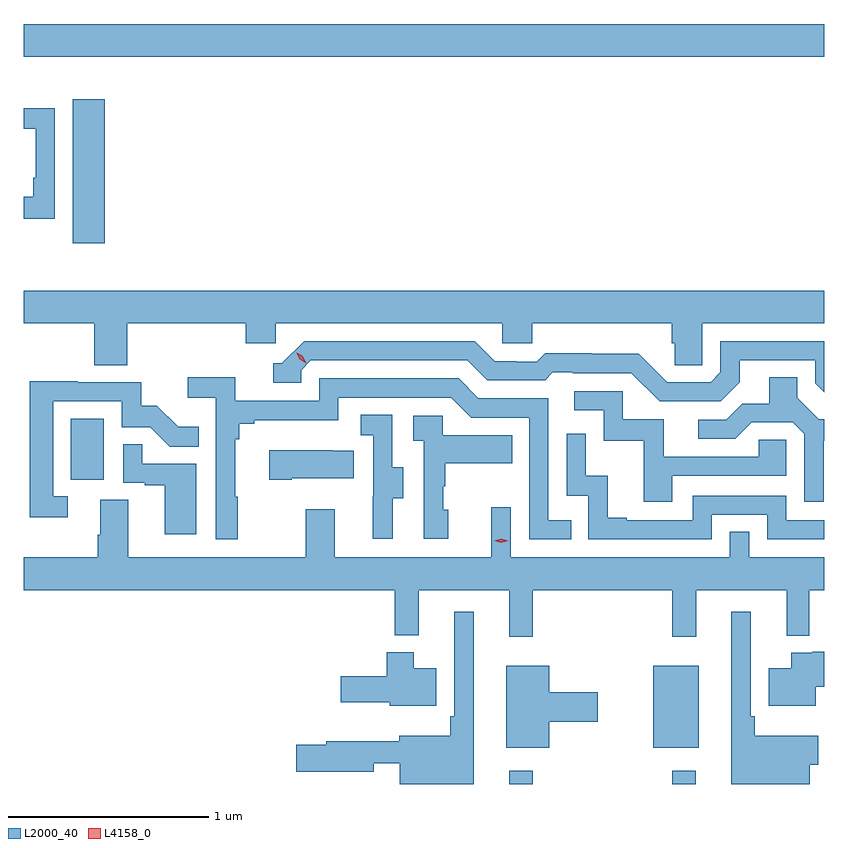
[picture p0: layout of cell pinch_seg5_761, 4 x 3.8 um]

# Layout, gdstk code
import gdstk
lib = gdstk.Library(unit=1e-6, precision=1e-09)
def R(c, l, rs):  # rectangles x0, y0, x1, y1
    for r in rs: c.add(gdstk.rectangle(r[:2], r[2:], *l))
def P(c, l, *ps):  # polygons
    for p in ps: c.add(gdstk.Polygon(p, *l))
L2000_40 = (2000, 40)
L4158_0 = (4158, 0)

pinch_seg5_761 = lib.new_cell('pinch_seg5_761')
R(pinch_seg5_761, L2000_40, [(844.61,901.079,844.727,901.144), (845.425,901.079,845.542,901.144), (845.33,901.259,845.557,901.669), (842.42,902.598,842.584,902.905), (842.429,903.78,842.59,904.501), (842.184,904.712,846.184,904.876)])
P(pinch_seg5_761, L2000_40, [(842.34,904.454),(842.184,904.454),(842.184,904.353),(842.244,904.353),(842.244,904.108),(842.231,904.108),(842.231,904.012),(842.184,904.012),(842.184,903.903),(842.34,903.903)],
  [(842.184,903.38),(842.537,903.38),(842.537,903.172),(842.702,903.172),(842.702,903.38),(843.293,903.38),(843.293,903.282),(843.444,903.282),(843.444,903.38),(844.575,903.38),(844.575,903.282),(844.725,903.282),(844.725,903.38),(845.423,903.38),(845.423,903.282),(845.437,903.282),(845.437,903.172),(845.574,903.172),(845.574,903.38),(846.184,903.38),(846.184,903.544),(842.184,903.544)],
  [(845.761,903.085),(845.761,903.195),(846.138,903.195),(846.138,903.081),(846.184,903.035),(846.184,903.291),(845.664,903.291),(845.664,903.135),(845.616,903.087),(845.4,903.087),(845.258,903.229),(845.022,903.229),(845.022,903.232),(844.789,903.232),(844.747,903.189),(844.644,903.189),(844.644,903.192),(844.537,903.192),(844.438,903.291),(843.585,903.291),(843.474,903.18),(843.431,903.18),(843.431,903.084),(843.57,903.084),(843.57,903.147),(843.618,903.195),(844.401,903.195),(844.5,903.096),(844.789,903.096),(844.828,903.135),(844.927,903.135),(844.927,903.132),(845.22,903.132),(845.361,902.991),(845.667,902.991)],
  [(843.253,902.513),(843.241,902.513),(843.241,902.801),(843.26,902.801),(843.26,902.878),(843.337,902.878),(843.337,902.897),(843.756,902.897),(843.756,903.009),(844.32,903.009),(844.419,902.91),(844.71,902.91),(844.71,902.301),(844.919,902.301),(844.919,902.397),(844.806,902.397),(844.806,903.006),(844.456,903.006),(844.357,903.105),(843.66,903.105),(843.66,902.994),(843.242,902.994),(843.242,903.11),(843.003,903.11),(843.003,903.008),(843.144,903.008),(843.144,902.301),(843.253,902.301)],
  [(846.181,902.793),(846.184,902.793),(846.184,902.901),(846.156,902.901),(846.049,903.008),(846.049,903.11),(845.909,903.11),(845.909,902.978),(845.774,902.978),(845.694,902.898),(845.553,902.898),(845.553,902.805),(845.74,902.805),(845.821,902.886),(846.027,902.886),(846.084,902.829),(846.084,902.49),(846.181,902.49)],
  [(842.404,902.517),(842.331,902.517),(842.331,902.991),(842.673,902.991),(842.673,902.862),(842.817,902.862),(842.915,902.764),(843.059,902.764),(843.059,902.863),(842.955,902.863),(842.848,902.97),(842.772,902.97),(842.772,903.087),(842.453,903.087),(842.453,903.092),(842.215,903.092),(842.215,902.412),(842.404,902.412)],
  [(845.425,902.619),(845.994,902.619),(845.994,902.799),(845.857,902.799),(845.857,902.715),(845.383,902.715),(845.383,902.901),(845.178,902.901),(845.178,903.042),(844.935,903.042),(844.935,902.946),(845.082,902.946),(845.082,902.793),(845.281,902.793),(845.281,902.49),(845.425,902.49)],
  [(844.027,902.506),(844.081,902.506),(844.081,902.661),(844.026,902.661),(844.026,902.924),(843.867,902.924),(843.867,902.821),(843.93,902.821),(843.93,902.517),(843.929,902.517),(843.929,902.304),(844.027,902.304)],
  [(844.306,902.448),(844.281,902.448),(844.281,902.567),(844.291,902.567),(844.291,902.681),(844.625,902.681),(844.625,902.821),(844.278,902.821),(844.278,902.919),(844.131,902.919),(844.131,902.795),(844.182,902.795),(844.182,902.304),(844.306,902.304)],
  [(845.622,902.424),(845.898,902.424),(845.898,902.301),(846.184,902.301),(846.184,902.397),(845.994,902.397),(845.994,902.52),(845.526,902.52),(845.526,902.397),(845.197,902.397),(845.197,902.41),(845.102,902.41),(845.102,902.618),(844.992,902.618),(844.992,902.83),(844.896,902.83),(844.896,902.52),(845.004,902.52),(845.004,902.301),(845.622,902.301)],
  [(843.046,902.679),(842.777,902.679),(842.777,902.777),(842.682,902.777),(842.682,902.583),(842.789,902.583),(842.789,902.571),(842.888,902.571),(842.888,902.328),(843.046,902.328)],
  [(843.523,902.606),(843.833,902.606),(843.833,902.743),(843.725,902.743),(843.725,902.746),(843.411,902.746),(843.411,902.599),(843.523,902.599)],
  [(844.727,902.048),(845.425,902.048),(845.425,901.815),(845.543,901.815),(845.543,902.048),(845.996,902.048),(845.996,901.82),(846.109,901.82),(846.109,902.048),(846.184,902.048),(846.184,902.212),(845.808,902.212),(845.808,902.339),(845.712,902.339),(845.712,902.212),(844.617,902.212),(844.617,902.461),(844.52,902.461),(844.52,902.212),(843.739,902.212),(843.739,902.452),(843.592,902.452),(843.592,902.212),(842.707,902.212),(842.707,902.498),(842.567,902.498),(842.567,902.324),(842.555,902.324),(842.555,902.212),(842.184,902.212),(842.184,902.048),(844.039,902.048),(844.039,901.823),(844.157,901.823),(844.157,902.048),(844.61,902.048),(844.61,901.815),(844.727,901.815)],
  [(844.432,901.939),(844.335,901.939),(844.335,901.417),(844.315,901.417),(844.315,901.321),(844.061,901.321),(844.061,901.292),(843.695,901.292),(843.695,901.274),(843.546,901.274),(843.546,901.139),(843.934,901.139),(843.934,901.182),(844.062,901.182),(844.062,901.079),(844.432,901.079)],
  [(846.11,901.174),(846.154,901.174),(846.154,901.321),(845.837,901.321),(845.837,901.417),(845.817,901.417),(845.817,901.939),(845.72,901.939),(845.72,901.079),(846.11,901.079)],
  [(846.142,901.565),(846.184,901.565),(846.184,901.74),(846.124,901.74),(846.124,901.735),(846.02,901.735),(846.02,901.657),(845.906,901.657),(845.906,901.469),(846.142,901.469)],
  [(844.246,901.657),(844.132,901.657),(844.132,901.738),(843.998,901.738),(843.998,901.617),(843.768,901.617),(843.768,901.487),(844.014,901.487),(844.014,901.469),(844.246,901.469)],
  [(844.81,901.391),(845.053,901.391),(845.053,901.538),(844.81,901.538),(844.81,901.669),(844.595,901.669),(844.595,901.259),(844.81,901.259)])
P(pinch_seg5_761, L4158_0, [(844.57,902.285),(844.534,902.294),(844.534,902.295),(844.534,902.295),(844.57,902.305),(844.605,902.295),(844.605,902.295),(844.605,902.294)],
  [(843.595,903.182),(843.564,903.202),(843.548,903.234),(843.548,903.234),(843.548,903.234),(843.579,903.215),(843.595,903.182),(843.595,903.182)])

lib.write_gds('pinch_seg5_761.gds')
